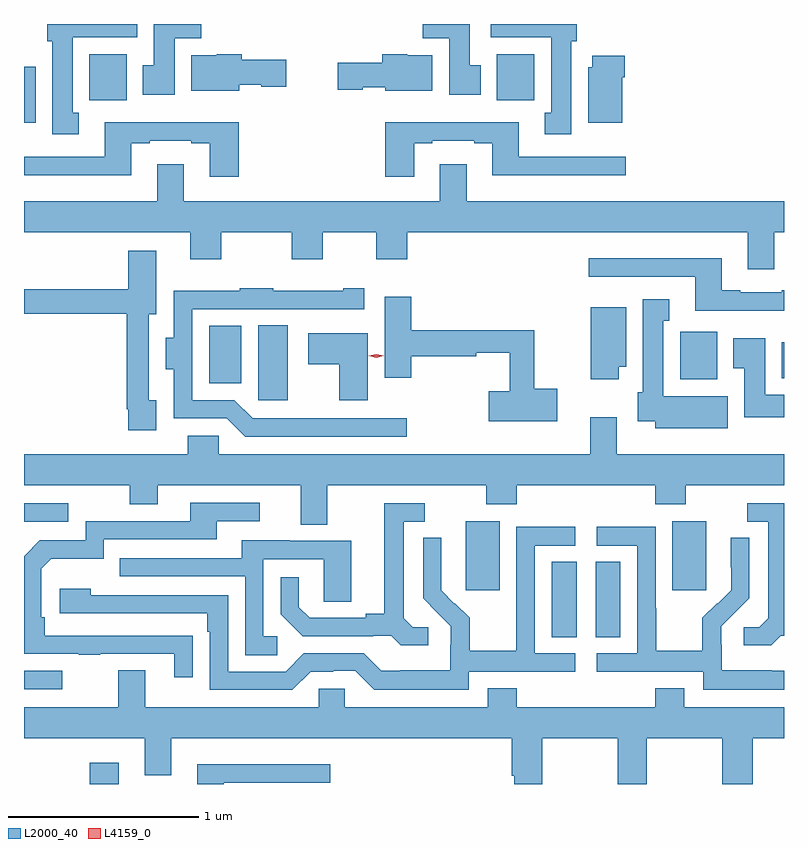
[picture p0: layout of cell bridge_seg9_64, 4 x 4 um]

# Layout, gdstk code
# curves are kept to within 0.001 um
import gdstk
lib = gdstk.Library(unit=1e-6, precision=1e-09)
def R(c, l, rs):  # rectangles x0, y0, x1, y1
    for r in rs: c.add(gdstk.rectangle(r[:2], r[2:], *l))
def P(c, l, *ps):  # polygons
    for p in ps: c.add(gdstk.Polygon(p, *l))
L2000_40 = (2000, 40)
L4159_0 = (4159, 0)

bridge_seg9_64 = lib.new_cell('bridge_seg9_64')
R(bridge_seg9_64, L2000_40, [(1082.225,1204.172,1082.377,1204.285), (1081.878,1204.671,1082.08,1204.767), (1084.655,1204.945,1084.786,1205.342), (1084.886,1204.945,1085.017,1205.342), (1084.202,1205.193,1084.381,1205.554), (1085.291,1205.193,1085.47,1205.554), (1081.878,1205.553,1082.11,1205.649), (1083.11,1206.192,1083.265,1206.587), (1082.852,1206.281,1083.022,1206.583), (1085.331,1206.302,1085.527,1206.552), (1085.867,1206.308,1085.878,1206.496), (1081.878,1207.652,1081.939,1207.948), (1082.222,1207.772,1082.419,1208.014), (1084.367,1207.772,1084.564,1208.014)])
P(bridge_seg9_64, L2000_40, [(1084.282,1207.956),(1084.225,1207.956),(1084.225,1208.172),(1083.976,1208.172),(1083.976,1208.096),(1084.115,1208.096),(1084.115,1207.8),(1084.282,1207.8)],
  [(1084.759,1208.082),(1084.786,1208.082),(1084.786,1208.172),(1084.335,1208.172),(1084.335,1208.102),(1084.652,1208.102),(1084.652,1207.706),(1084.619,1207.706),(1084.619,1207.593),(1084.759,1207.593)],
  [(1082.671,1208.096),(1082.81,1208.096),(1082.81,1208.172),(1082.561,1208.172),(1082.561,1207.956),(1082.504,1207.956),(1082.504,1207.8),(1082.671,1207.8)],
  [(1082.167,1207.706),(1082.134,1207.706),(1082.134,1208.102),(1082.473,1208.102),(1082.473,1208.172),(1082,1208.172),(1082,1208.082),(1082.027,1208.082),(1082.027,1207.593),(1082.167,1207.593)],
  [(1084.027,1208.008),(1083.894,1208.008),(1083.894,1208.014),(1083.764,1208.014),(1083.764,1207.968),(1083.528,1207.968),(1083.528,1207.826),(1083.66,1207.826),(1083.66,1207.838),(1083.78,1207.838),(1083.78,1207.82),(1084.027,1207.82)],
  [(1083.01,1207.853),(1083.126,1207.853),(1083.126,1207.841),(1083.259,1207.841),(1083.259,1207.983),(1083.023,1207.983),(1083.023,1208.014),(1082.892,1208.014),(1082.892,1208.008),(1082.759,1208.008),(1082.759,1207.82),(1083.01,1207.82)],
  [(1085.026,1207.892),(1085.039,1207.892),(1085.039,1208.005),(1084.868,1208.005),(1084.868,1207.944),(1084.847,1207.944),(1084.847,1207.652),(1085.026,1207.652)],
  [(1083.008,1207.654),(1082.303,1207.654),(1082.303,1207.473),(1081.878,1207.473),(1081.878,1207.376),(1082.443,1207.376),(1082.443,1207.545),(1082.539,1207.545),(1082.539,1207.557),(1082.759,1207.557),(1082.759,1207.545),(1082.855,1207.545),(1082.855,1207.368),(1083.008,1207.368)],
  [(1083.931,1207.545),(1084.027,1207.545),(1084.027,1207.557),(1084.247,1207.557),(1084.247,1207.545),(1084.343,1207.545),(1084.343,1207.376),(1085.044,1207.376),(1085.044,1207.473),(1084.483,1207.473),(1084.483,1207.654),(1083.779,1207.654),(1083.779,1207.368),(1083.931,1207.368)],
  [(1084.067,1207.435),(1084.067,1207.24),(1082.719,1207.24),(1082.719,1207.435),(1082.579,1207.435),(1082.579,1207.24),(1081.878,1207.24),(1081.878,1207.076),(1082.753,1207.076),(1082.753,1206.933),(1082.917,1206.933),(1082.917,1207.076),(1083.287,1207.076),(1083.287,1206.933),(1083.451,1206.933),(1083.451,1207.076),(1083.731,1207.076),(1083.731,1206.933),(1083.895,1206.933),(1083.895,1207.076),(1085.687,1207.076),(1085.687,1206.882),(1085.827,1206.882),(1085.827,1207.076),(1085.878,1207.076),(1085.878,1207.24),(1084.207,1207.24),(1084.207,1207.435)],
  [(1082.575,1206.193),(1082.535,1206.193),(1082.535,1206.644),(1082.575,1206.644),(1082.575,1206.979),(1082.426,1206.979),(1082.426,1206.775),(1081.878,1206.775),(1081.878,1206.646),(1082.419,1206.646),(1082.419,1206.145),(1082.427,1206.145),(1082.427,1206.033),(1082.575,1206.033)],
  [(1085.878,1206.772),(1085.867,1206.772),(1085.867,1206.759),(1085.647,1206.759),(1085.647,1206.772),(1085.551,1206.772),(1085.551,1206.94),(1084.851,1206.94),(1084.851,1206.843),(1085.411,1206.843),(1085.411,1206.662),(1085.878,1206.662)],
  [(1083.892,1206.096),(1083.081,1206.096),(1082.985,1206.192),(1082.763,1206.192),(1082.763,1206.672),(1083.67,1206.672),(1083.67,1206.781),(1083.557,1206.781),(1083.557,1206.769),(1083.191,1206.769),(1083.191,1206.781),(1083.013,1206.781),(1083.013,1206.769),(1082.667,1206.769),(1082.667,1206.52),(1082.624,1206.52),(1082.624,1206.356),(1082.666,1206.356),(1082.666,1206.096),(1082.946,1206.096),(1083.042,1206),(1083.892,1206)],
  [(1084.684,1206.251),(1084.564,1206.251),(1084.564,1206.56),(1083.917,1206.56),(1083.917,1206.736),(1083.776,1206.736),(1083.776,1206.309),(1083.917,1206.309),(1083.917,1206.424),(1084.258,1206.424),(1084.258,1206.443),(1084.435,1206.443),(1084.435,1206.238),(1084.323,1206.238),(1084.323,1206.08),(1084.684,1206.08)],
  [(1085.581,1206.214),(1085.242,1206.214),(1085.242,1206.611),(1085.275,1206.611),(1085.275,1206.724),(1085.135,1206.724),(1085.135,1206.234),(1085.108,1206.234),(1085.108,1206.08),(1085.201,1206.08),(1085.201,1206.044),(1085.581,1206.044)],
  [(1085.008,1206.368),(1085.047,1206.368),(1085.047,1206.682),(1084.861,1206.682),(1084.861,1206.302),(1085.008,1206.302)],
  [(1083.688,1206.544),(1083.375,1206.544),(1083.375,1206.38),(1083.536,1206.38),(1083.536,1206.191),(1083.688,1206.191)],
  [(1085.878,1206.22),(1085.779,1206.22),(1085.779,1206.517),(1085.612,1206.517),(1085.612,1206.361),(1085.669,1206.361),(1085.669,1206.102),(1085.878,1206.102)],
  [(1083.475,1205.744),(1084.312,1205.744),(1084.312,1205.645),(1084.472,1205.645),(1084.472,1205.744),(1085.201,1205.744),(1085.201,1205.645),(1085.361,1205.645),(1085.361,1205.744),(1085.878,1205.744),(1085.878,1205.908),(1084.999,1205.908),(1084.999,1206.103),(1084.859,1206.103),(1084.859,1205.908),(1082.904,1205.908),(1082.904,1206.006),(1082.741,1206.006),(1082.741,1205.908),(1081.878,1205.908),(1081.878,1205.744),(1082.434,1205.744),(1082.434,1205.645),(1082.581,1205.645),(1082.581,1205.744),(1083.335,1205.744),(1083.335,1205.536),(1083.475,1205.536)],
  [(1082.765,1204.952),(1081.988,1204.953),(1081.988,1205.05),(1081.968,1205.05),(1081.968,1205.304),(1082.021,1205.357),(1082.298,1205.357),(1082.298,1205.46),(1082.893,1205.46),(1082.893,1205.556),(1083.118,1205.556),(1083.118,1205.652),(1082.753,1205.652),(1082.753,1205.556),(1082.202,1205.556),(1082.202,1205.454),(1081.962,1205.454),(1081.878,1205.37),(1081.878,1204.857),(1082.167,1204.857),(1082.167,1204.852),(1082.279,1204.852),(1082.279,1204.857),(1082.669,1204.857),(1082.669,1204.734),(1082.765,1204.734)],
  [(1084.006,1204.998),(1083.924,1204.998),(1083.877,1205.045),(1083.877,1205.553),(1083.988,1205.553),(1083.988,1205.649),(1083.773,1205.649),(1083.773,1205.069),(1083.677,1205.069),(1083.677,1205.046),(1083.382,1205.046),(1083.325,1205.103),(1083.325,1205.26),(1083.228,1205.26),(1083.228,1205.066),(1083.344,1204.95),(1083.716,1204.95),(1083.716,1204.953),(1083.81,1204.953),(1083.862,1204.901),(1084.006,1204.901)],
  [(1085.862,1204.953),(1085.878,1204.953),(1085.878,1205.649),(1085.685,1205.649),(1085.685,1205.553),(1085.795,1205.553),(1085.795,1205.045),(1085.748,1204.998),(1085.667,1204.998),(1085.667,1204.901),(1085.81,1204.901)],
  [(1084.218,1204.764),(1084.78,1204.764),(1084.78,1204.86),(1084.566,1204.86),(1084.566,1205.427),(1084.78,1205.427),(1084.78,1205.526),(1084.47,1205.526),(1084.47,1205.096),(1084.468,1205.096),(1084.468,1204.873),(1084.223,1204.873),(1084.223,1205.047),(1084.146,1205.124),(1084.143,1205.121),(1084.073,1205.192),(1084.074,1205.468),(1083.978,1205.468),(1083.978,1205.15),(1084.124,1205.002),(1084.124,1204.905),(1084.122,1204.905),(1084.122,1204.771),(1083.859,1204.771),(1083.859,1204.767),(1083.759,1204.767),(1083.666,1204.86),(1083.351,1204.86),(1083.255,1204.764),(1082.952,1204.764),(1082.952,1205.166),(1082.228,1205.166),(1082.228,1205.2),(1082.067,1205.2),(1082.067,1205.07),(1082.843,1205.07),(1082.843,1204.973),(1082.856,1204.973),(1082.856,1204.668),(1083.291,1204.668),(1083.387,1204.764),(1083.506,1204.764),(1083.506,1204.767),(1083.621,1204.767),(1083.721,1204.667),(1084.218,1204.667)],
  [(1085.878,1204.767),(1085.813,1204.767),(1085.813,1204.771),(1085.55,1204.771),(1085.55,1204.905),(1085.548,1204.905),(1085.548,1205.002),(1085.694,1205.15),(1085.694,1205.468),(1085.598,1205.468),(1085.598,1205.314),(1085.6,1205.314),(1085.6,1205.192),(1085.529,1205.121),(1085.526,1205.124),(1085.449,1205.047),(1085.449,1204.873),(1085.205,1204.873),(1085.205,1205.096),(1085.202,1205.096),(1085.202,1205.526),(1084.893,1205.526),(1084.893,1205.427),(1085.106,1205.427),(1085.106,1204.86),(1084.893,1204.86),(1084.893,1204.764),(1085.454,1204.764),(1085.454,1204.667),(1085.878,1204.667)],
  [(1083.211,1204.95),(1083.138,1204.95),(1083.138,1205.355),(1083.456,1205.355),(1083.456,1205.131),(1083.601,1205.131),(1083.601,1205.451),(1083.277,1205.451),(1083.277,1205.455),(1083.023,1205.455),(1083.023,1205.361),(1082.383,1205.361),(1082.383,1205.265),(1083.042,1205.265),(1083.042,1204.849),(1083.211,1204.849)],
  [(1084.605,1204.412),(1085.002,1204.412),(1085.002,1204.172),(1085.156,1204.172),(1085.156,1204.412),(1085.554,1204.412),(1085.554,1204.172),(1085.714,1204.172),(1085.714,1204.412),(1085.878,1204.412),(1085.878,1204.576),(1085.353,1204.576),(1085.353,1204.675),(1085.201,1204.675),(1085.201,1204.576),(1084.472,1204.576),(1084.472,1204.675),(1084.319,1204.675),(1084.319,1204.576),(1083.567,1204.576),(1083.567,1204.674),(1083.429,1204.674),(1083.429,1204.576),(1082.515,1204.576),(1082.515,1204.771),(1082.375,1204.771),(1082.375,1204.576),(1081.878,1204.576),(1081.878,1204.412),(1082.513,1204.412),(1082.513,1204.218),(1082.653,1204.218),(1082.653,1204.412),(1084.445,1204.412),(1084.445,1204.216),(1084.457,1204.216),(1084.457,1204.172),(1084.605,1204.172)],
  [(1082.929,1204.179),(1083.49,1204.179),(1083.49,1204.276),(1082.789,1204.276),(1082.789,1204.172),(1082.929,1204.172)])
P(bridge_seg9_64, L4159_0, [(1083.732,1206.415),(1083.692,1206.425),(1083.692,1206.425),(1083.692,1206.425),(1083.732,1206.435),(1083.772,1206.425),(1083.772,1206.425),(1083.772,1206.425)])

lib.write_gds('bridge_seg9_64.gds')
